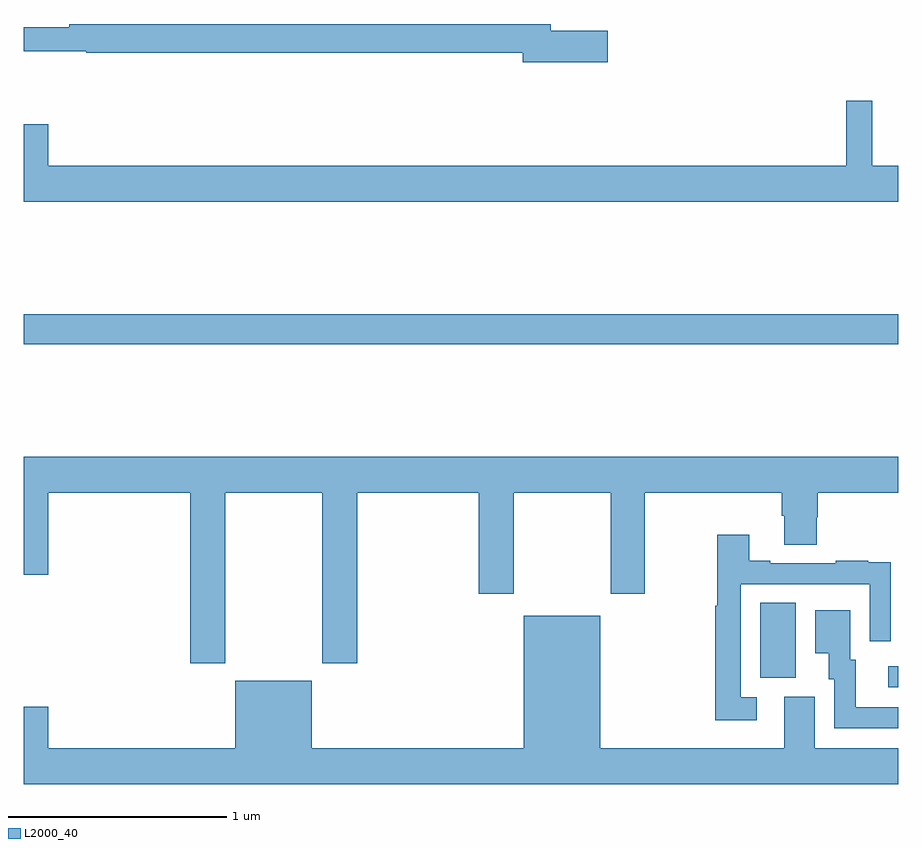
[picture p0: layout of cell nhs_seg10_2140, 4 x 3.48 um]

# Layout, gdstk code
import gdstk
lib = gdstk.Library(unit=1e-6, precision=1e-09)
def R(c, l, rs):  # rectangles x0, y0, x1, y1
    for r in rs: c.add(gdstk.rectangle(r[:2], r[2:], *l))
def P(c, l, *ps):  # polygons
    for p in ps: c.add(gdstk.Polygon(p, *l))
L2000_40 = (2000, 40)

nhs_seg10_2140 = lib.new_cell('nhs_seg10_2140')
R(nhs_seg10_2140, L2000_40, [(228.954,1259.466,229,1259.562), (228.368,1259.509,228.532,1259.852), (225,1261.036,229,1261.172)])
P(nhs_seg10_2140, L2000_40, [(227.671,1262.468),(227.41,1262.468),(227.41,1262.5),(225.208,1262.5),(225.208,1262.485),(225,1262.485),(225,1262.376),(225.286,1262.376),(225.286,1262.368),(227.282,1262.368),(227.282,1262.326),(227.671,1262.326)],
  [(229,1261.852),(228.88,1261.852),(228.88,1262.149),(228.763,1262.149),(228.763,1261.852),(225.112,1261.852),(225.112,1262.041),(225,1262.041),(225,1261.688),(229,1261.688)],
  [(225.921,1260.356),(226.366,1260.356),(226.366,1259.577),(226.526,1259.577),(226.526,1260.356),(227.081,1260.356),(227.081,1259.895),(227.241,1259.895),(227.241,1260.356),(227.686,1260.356),(227.686,1259.895),(227.841,1259.895),(227.841,1260.356),(228.467,1260.356),(228.467,1260.25),(228.479,1260.25),(228.479,1260.118),(228.627,1260.118),(228.627,1260.243),(228.632,1260.243),(228.632,1260.356),(229,1260.356),(229,1260.52),(225,1260.52),(225,1259.982),(225.112,1259.982),(225.112,1260.356),(225.761,1260.356),(225.761,1259.577),(225.921,1259.577)],
  [(228.352,1259.421),(228.279,1259.421),(228.279,1259.937),(228.87,1259.937),(228.87,1259.676),(228.966,1259.676),(228.966,1259.93),(228.965,1259.93),(228.965,1260.039),(228.863,1260.039),(228.863,1260.046),(228.715,1260.046),(228.715,1260.033),(228.415,1260.033),(228.415,1260.046),(228.319,1260.046),(228.319,1260.163),(228.171,1260.163),(228.171,1259.84),(228.163,1259.84),(228.163,1259.316),(228.352,1259.316)],
  [(229,1259.376),(228.805,1259.376),(228.805,1259.592),(228.781,1259.592),(228.781,1259.818),(228.62,1259.818),(228.62,1259.621),(228.683,1259.621),(228.683,1259.502),(228.708,1259.502),(228.708,1259.28),(229,1259.28)],
  [(229,1259.188),(228.619,1259.188),(228.619,1259.424),(228.479,1259.424),(228.479,1259.188),(227.638,1259.188),(227.638,1259.794),(227.288,1259.794),(227.288,1259.188),(226.318,1259.188),(226.318,1259.497),(225.968,1259.497),(225.968,1259.188),(225.112,1259.188),(225.112,1259.377),(225,1259.377),(225,1259.024),(229,1259.024)])

lib.write_gds('nhs_seg10_2140.gds')
